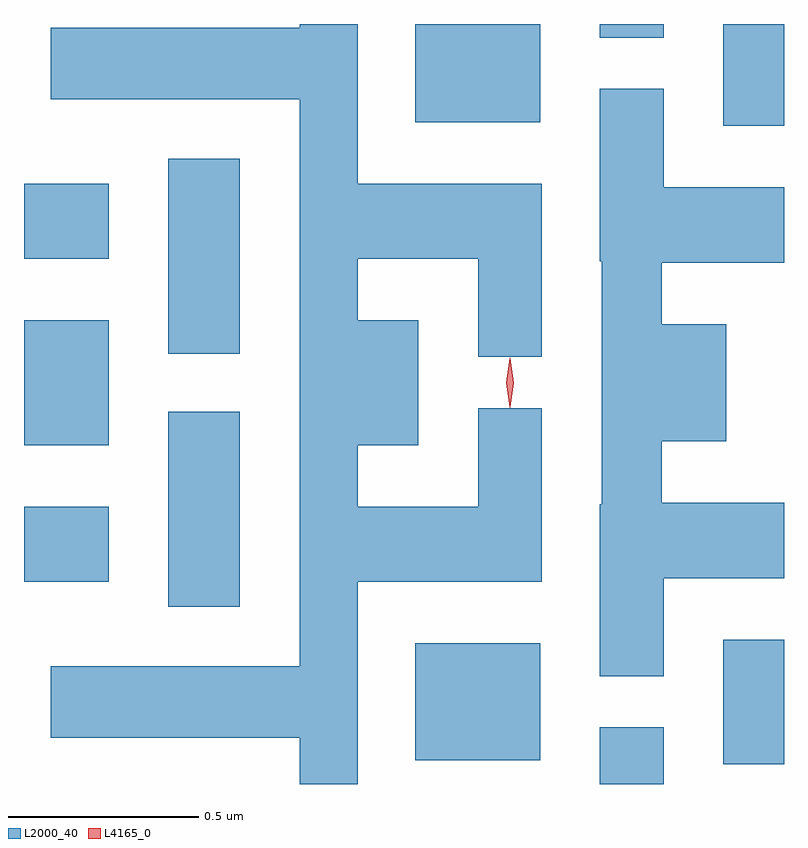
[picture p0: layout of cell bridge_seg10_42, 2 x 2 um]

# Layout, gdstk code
import gdstk
lib = gdstk.Library(unit=1e-6, precision=1e-09)
def R(c, l, rs):  # rectangles x0, y0, x1, y1
    for r in rs: c.add(gdstk.rectangle(r[:2], r[2:], *l))
def P(c, l, *ps):  # polygons
    for p in ps: c.add(gdstk.Polygon(p, *l))
L2000_40 = (2000, 40)
L4165_0 = (4165, 0)

bridge_seg10_42 = lib.new_cell('bridge_seg10_42')
R(bridge_seg10_42, L2000_40, [(1750.371,2169.794,1750.539,2169.943), (1750.696,2169.846,1750.856,2170.174), (1749.886,2169.856,1750.214,2170.164), (1749.236,2170.261,1749.424,2170.774), (1748.856,2170.326,1749.079,2170.524), (1748.856,2170.686,1749.079,2171.014), (1749.236,2170.926,1749.424,2171.439), (1748.856,2171.176,1749.079,2171.374), (1750.696,2171.526,1750.856,2171.794), (1749.886,2171.536,1750.214,2171.794), (1750.371,2171.758,1750.539,2171.794)])
P(bridge_seg10_42, L2000_40, [(1749.734,2170.326),(1750.219,2170.326),(1750.219,2170.783),(1750.051,2170.783),(1750.051,2170.524),(1749.734,2170.524),(1749.734,2170.686),(1749.894,2170.686),(1749.894,2171.014),(1749.734,2171.014),(1749.734,2171.176),(1750.051,2171.176),(1750.051,2170.918),(1750.219,2170.918),(1750.219,2171.374),(1749.734,2171.374),(1749.734,2171.794),(1749.581,2171.794),(1749.581,2171.784),(1748.926,2171.784),(1748.926,2171.596),(1749.581,2171.596),(1749.581,2170.104),(1748.926,2170.104),(1748.926,2169.916),(1749.581,2169.916),(1749.581,2169.794),(1749.734,2169.794)],
  [(1750.539,2170.336),(1750.856,2170.336),(1750.856,2170.534),(1750.534,2170.534),(1750.534,2170.696),(1750.704,2170.696),(1750.704,2171.004),(1750.534,2171.004),(1750.534,2171.166),(1750.856,2171.166),(1750.856,2171.364),(1750.539,2171.364),(1750.539,2171.623),(1750.371,2171.623),(1750.371,2171.17),(1750.376,2171.17),(1750.376,2170.53),(1750.371,2170.53),(1750.371,2170.078),(1750.539,2170.078)])
P(bridge_seg10_42, L4165_0, [(1750.135,2170.784),(1750.134,2170.785),(1750.125,2170.85),(1750.134,2170.915),(1750.135,2170.916),(1750.136,2170.915),(1750.145,2170.85),(1750.136,2170.785)])

lib.write_gds('bridge_seg10_42.gds')
